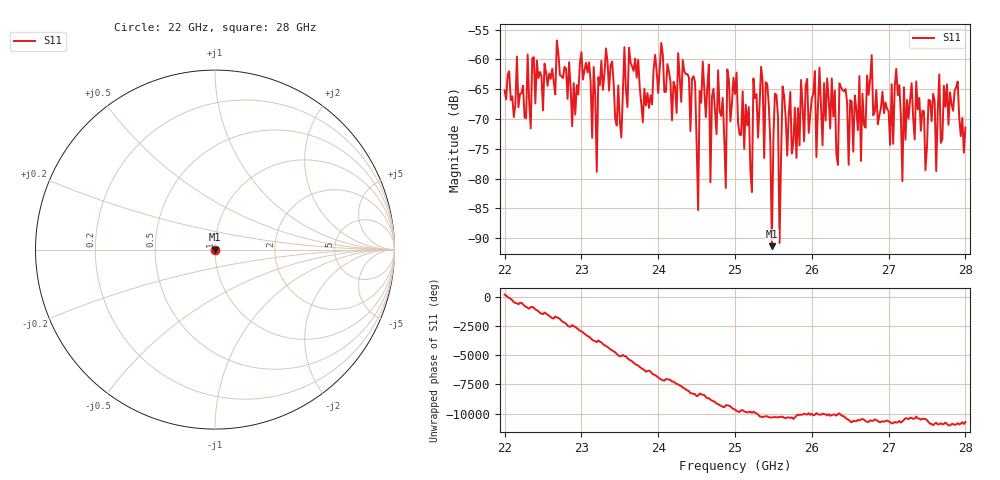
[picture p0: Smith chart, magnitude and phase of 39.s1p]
#  HZ  S  RI  R  50.00
! Rohde & Schwarz ZVA40 4Ports - Version 3.90 - 1145.1110k42 SN: 100403
! Date: 2023-10-04 07:58:20
! Measurement: S12
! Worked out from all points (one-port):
!   301 points, 22 GHz to 28 GHz, reference 50 ohm
!   lowest |S11| = -91.3 dB at 25.48 GHz (marker M1), VSWR 1.00, Z = 50 + j0.00213 ohm
!   |S11| at or under -10 dB: start of sweep to end of sweep
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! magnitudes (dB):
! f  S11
! 22 GHz  -65.2
! 22.76 GHz  -63.1
! 23.16 GHz  -61.3
! 23.2 GHz  -78.9
! 23.22 GHz  -63.0
! 23.32 GHz  -58.1
! 23.5 GHz  -70.3
! 24.26 GHz  -58.9
! 24.48 GHz  -63.8
! 24.52 GHz  -85.3
! 24.58 GHz  -60.3
! 24.66 GHz  -60.8
! 24.68 GHz  -80.6
! 24.78 GHz  -61.8
! 24.88 GHz  -81.6
! 24.9 GHz  -61.7
! 25 GHz  -65.8
! 25.22 GHz  -82.3
! 25.24 GHz  -63.2
! 25.34 GHz  -61.2
! 25.48 GHz  -91.3
! 25.52 GHz  -65.7
! 25.58 GHz  -90.8
! 25.62 GHz  -64.5
! 25.76 GHz  -73.9
! 26.5 GHz  -66.8
! 27.26 GHz  -69.9
! 28 GHz  -71.4
